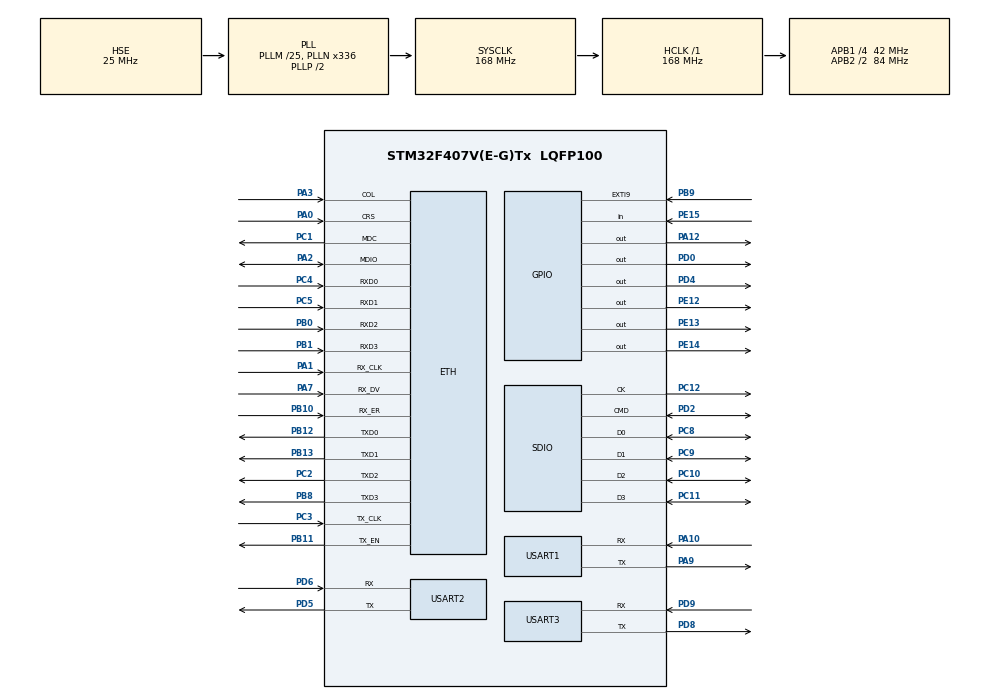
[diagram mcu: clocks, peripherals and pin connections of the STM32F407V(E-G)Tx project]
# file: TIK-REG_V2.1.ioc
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Dma.Request0=USART1_RX
Dma.Request1=USART1_TX
Dma.Request2=SDIO_RX
Dma.Request3=SDIO_TX
Dma.SDIO_RX.2.Direction=DMA_PERIPH_TO_MEMORY
Dma.SDIO_RX.2.FIFOMode=DMA_FIFOMODE_ENABLE
Dma.SDIO_RX.2.FIFOThreshold=DMA_FIFO_THRESHOLD_FULL
Dma.SDIO_RX.2.Instance=DMA2_Stream3
Dma.SDIO_RX.2.MemBurst=DMA_MBURST_INC4
Dma.SDIO_RX.2.MemDataAlignment=DMA_MDATAALIGN_WORD
Dma.SDIO_RX.2.MemInc=DMA_MINC_ENABLE
Dma.SDIO_RX.2.Mode=DMA_PFCTRL
Dma.SDIO_RX.2.PeriphBurst=DMA_PBURST_INC4
Dma.SDIO_RX.2.PeriphDataAlignment=DMA_PDATAALIGN_WORD
Dma.SDIO_RX.2.PeriphInc=DMA_PINC_DISABLE
Dma.SDIO_RX.2.Priority=DMA_PRIORITY_LOW
Dma.SDIO_TX.3.Direction=DMA_MEMORY_TO_PERIPH
Dma.SDIO_TX.3.FIFOMode=DMA_FIFOMODE_ENABLE
Dma.SDIO_TX.3.FIFOThreshold=DMA_FIFO_THRESHOLD_FULL
Dma.SDIO_TX.3.Instance=DMA2_Stream6
Dma.SDIO_TX.3.MemBurst=DMA_MBURST_INC4
Dma.SDIO_TX.3.MemDataAlignment=DMA_MDATAALIGN_WORD
Dma.SDIO_TX.3.MemInc=DMA_MINC_ENABLE
Dma.SDIO_TX.3.Mode=DMA_PFCTRL
Dma.SDIO_TX.3.PeriphBurst=DMA_PBURST_INC4
Dma.SDIO_TX.3.PeriphDataAlignment=DMA_PDATAALIGN_WORD
Dma.SDIO_TX.3.PeriphInc=DMA_PINC_DISABLE
Dma.SDIO_TX.3.Priority=DMA_PRIORITY_LOW
Dma.USART1_RX.0.Direction=DMA_PERIPH_TO_MEMORY
Dma.USART1_RX.0.FIFOMode=DMA_FIFOMODE_DISABLE
Dma.USART1_RX.0.Instance=DMA2_Stream2
Dma.USART1_RX.0.MemDataAlignment=DMA_MDATAALIGN_BYTE
Dma.USART1_RX.0.MemInc=DMA_MINC_ENABLE
Dma.USART1_RX.0.Mode=DMA_NORMAL
Dma.USART1_RX.0.PeriphDataAlignment=DMA_PDATAALIGN_BYTE
Dma.USART1_RX.0.PeriphInc=DMA_PINC_DISABLE
Dma.USART1_RX.0.Priority=DMA_PRIORITY_LOW
Dma.USART1_TX.1.Direction=DMA_MEMORY_TO_PERIPH
Dma.USART1_TX.1.FIFOMode=DMA_FIFOMODE_DISABLE
Dma.USART1_TX.1.Instance=DMA2_Stream7
Dma.USART1_TX.1.MemDataAlignment=DMA_MDATAALIGN_BYTE
Dma.USART1_TX.1.MemInc=DMA_MINC_ENABLE
Dma.USART1_TX.1.Mode=DMA_NORMAL
Dma.USART1_TX.1.PeriphDataAlignment=DMA_PDATAALIGN_BYTE
Dma.USART1_TX.1.PeriphInc=DMA_PINC_DISABLE
Dma.USART1_TX.1.Priority=DMA_PRIORITY_LOW
ETH.MediaInterface=ETH_MEDIA_INTERFACE_MII
ETH.RxMode=ETH_RXINTERRUPT_MODE
FATFS._MAX_SS=4096
FREERTOS.Tasks01=defaultTask,0,128,StartDefaultTask,Default,NULL,Dynamic,NULL,NULL
FREERTOS.configUSE_COUNTING_SEMAPHORES=1
Mcu.Family=STM32F4
Mcu.Name=STM32F407V(E-G)Tx
Mcu.Package=LQFP100
NVIC.DMA2_Stream2_IRQn=true\:5\:0\:false\:false\:true\:true\:false\:true
NVIC.DMA2_Stream3_IRQn=true\:5\:0\:false\:false\:true\:true\:false\:true
NVIC.DMA2_Stream6_IRQn=true\:5\:0\:false\:false\:true\:true\:false\:true
NVIC.DMA2_Stream7_IRQn=true\:5\:0\:false\:false\:true\:true\:false\:true
NVIC.ETH_IRQn=true\:5\:0\:false\:false\:true\:true\:false\:true
NVIC.EXTI9_5_IRQn=true\:5\:0\:false\:false\:true\:true\:false\:true
NVIC.PriorityGroup=NVIC_PRIORITYGROUP_4
NVIC.SDIO_IRQn=true\:5\:0\:false\:false\:true\:true\:true\:true
NVIC.TIM1_UP_TIM10_IRQn=true\:0\:0\:false\:false\:true\:false\:false\:true
NVIC.TIM6_DAC_IRQn=true\:5\:0\:false\:false\:true\:true\:false\:true
NVIC.TimeBase=TIM1_UP_TIM10_IRQn
NVIC.TimeBaseIP=TIM1
NVIC.USART1_IRQn=true\:5\:0\:false\:false\:true\:true\:false\:true
NVIC.USART2_IRQn=true\:5\:0\:false\:false\:true\:true\:false\:true
NVIC.USART3_IRQn=true\:5\:0\:false\:false\:true\:true\:false\:true
PA0-WKUP.Mode=MII
PA0-WKUP.Signal=ETH_CRS
PA1.Mode=MII
PA1.Signal=ETH_RX_CLK
PA10.Mode=Asynchronous
PA10.Signal=USART1_RX
PA12.Signal=GPIO_Output
PA13.Mode=JTAG_4_pins
PA13.Signal=SYS_JTMS-SWDIO
PA14.Mode=JTAG_4_pins
PA14.Signal=SYS_JTCK-SWCLK
PA15.Mode=JTAG_4_pins
PA15.Signal=SYS_JTDI
PA2.Mode=MII
PA2.Signal=ETH_MDIO
PA3.Mode=MII
PA3.Signal=ETH_COL
PA7.Mode=MII
PA7.Signal=ETH_RX_DV
PA9.Mode=Asynchronous
PA9.Signal=USART1_TX
PB0.Mode=MII
PB0.Signal=ETH_RXD2
PB1.Mode=MII
PB1.Signal=ETH_RXD3
PB10.Mode=Activate Rx Err signal
PB10.Signal=ETH_RX_ER
PB11.Mode=MII
PB11.Signal=ETH_TX_EN
PB12.Mode=MII
PB12.Signal=ETH_TXD0
PB13.Mode=MII
PB13.Signal=ETH_TXD1
PB3.Mode=JTAG_4_pins
PB3.Signal=SYS_JTDO-SWO
PB8.Mode=MII
PB8.Signal=ETH_TXD3
PB9.Signal=GPXTI9
PC1.Mode=MII
PC1.Signal=ETH_MDC
PC10.GPIO_PuPd=GPIO_PULLUP
PC10.Mode=SD_4_bits_Wide_bus
PC10.Signal=SDIO_D2
PC11.GPIO_PuPd=GPIO_PULLUP
PC11.Mode=SD_4_bits_Wide_bus
PC11.Signal=SDIO_D3
PC12.GPIO_PuPd=GPIO_NOPULL
PC12.Mode=SD_4_bits_Wide_bus
PC12.Signal=SDIO_CK
PC14-OSC32_IN.Mode=LSE-External-Oscillator
PC14-OSC32_IN.Signal=RCC_OSC32_IN
PC15-OSC32_OUT.Mode=LSE-External-Oscillator
PC15-OSC32_OUT.Signal=RCC_OSC32_OUT
PC2.Mode=MII
PC2.Signal=ETH_TXD2
PC3.Mode=MII
PC3.Signal=ETH_TX_CLK
PC4.Mode=MII
PC4.Signal=ETH_RXD0
PC5.Mode=MII
PC5.Signal=ETH_RXD1
PC8.GPIO_PuPd=GPIO_PULLUP
PC8.Mode=SD_4_bits_Wide_bus
PC8.Signal=SDIO_D0
PC9.GPIO_PuPd=GPIO_PULLUP
PC9.Mode=SD_4_bits_Wide_bus
PC9.Signal=SDIO_D1
PD0.Signal=GPIO_Output
PD2.GPIO_PuPd=GPIO_PULLUP
PD2.Mode=SD_4_bits_Wide_bus
PD2.Signal=SDIO_CMD
PD4.Signal=GPIO_Output
PD5.Mode=Asynchronous
PD5.Signal=USART2_TX
PD6.Mode=Asynchronous
PD6.Signal=USART2_RX
PD8.Mode=Asynchronous
PD8.Signal=USART3_TX
PD9.Mode=Asynchronous
PD9.Signal=USART3_RX
PE12.Signal=GPIO_Output
PE13.Signal=GPIO_Output
PE14.Signal=GPIO_Output
PE15.GPIO_PuPd=GPIO_PULLUP
PE15.Signal=GPIO_Input
PH0-OSC_IN.Mode=HSE-External-Oscillator
PH0-OSC_IN.Signal=RCC_OSC_IN
PH1-OSC_OUT.Mode=HSE-External-Oscillator
PH1-OSC_OUT.Signal=RCC_OSC_OUT
ProjectManager.HeapSize=0x200
ProjectManager.StackSize=0x400
ProjectManager.TargetToolchain=MDK-ARM V5
RCC.48MHZClocksFreq_Value=48000000
RCC.AHBFreq_Value=168000000
RCC.APB1CLKDivider=RCC_HCLK_DIV4
RCC.APB1Freq_Value=42000000
RCC.APB1TimFreq_Value=84000000
RCC.APB2CLKDivider=RCC_HCLK_DIV2
RCC.APB2Freq_Value=84000000
RCC.APB2TimFreq_Value=168000000
RCC.CortexFreq_Value=168000000
RCC.HCLKFreq_Value=168000000
RCC.HSE_VALUE=25000000
RCC.HSI_VALUE=16000000
RCC.PLLM=25
RCC.PLLN=336
RCC.PLLQ=7
RCC.PLLSourceVirtual=RCC_PLLSOURCE_HSE
RCC.RCC_RTC_Clock_Source=RCC_RTCCLKSOURCE_LSE
RCC.RCC_RTC_Clock_SourceVirtual=RCC_RTCCLKSOURCE_LSE
RCC.RCC_RTC_Clock_Source_FROM_HSE=RCC_RTCCLKSOURCE_HSE_DIV30
RCC.SYSCLKFreq_VALUE=168000000
RCC.SYSCLKSource=RCC_SYSCLKSOURCE_PLLCLK
RCC.VCOOutputFreq_Value=336000000
SDIO.ClockDiv=3
TIM6.Period=9
TIM6.Prescaler=839
TIM6.TIM_MasterOutputTrigger=TIM_TRGO_UPDATE
USART1.VirtualMode=VM_ASYNC
USART2.VirtualMode=VM_ASYNC
USART3.VirtualMode=VM_ASYNC
VP_FATFS_VS_SDIO.Mode=SDIO
VP_FREERTOS_VS_CMSIS_V1.Mode=CMSIS_V1
VP_SYS_VS_tim1.Mode=TIM1
VP_TIM6_VS_ClockSourceINT.Mode=Enable_Timer
board=BB2

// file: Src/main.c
/* USER CODE BEGIN Header */
/**
  ******************************************************************************
  * @file           : main.c
  * @brief          : Main program body
  ******************************************************************************
  * @attention
  *
  * <h2><center>&copy; Copyright (c) 2020 STMicroelectronics.
  * All rights reserved.</center></h2>
  *
  * This software component is licensed by ST under Ultimate Liberty license
  * SLA0044, the "License"; You may not use this file except in compliance with
  * the License. You may obtain a copy of the License at:
  *                             www.st.com/SLA0044
  *
  ******************************************************************************
  */
/* USER CODE END Header */

#include "main.h"
#include "cmsis_os.h"
#include "dma.h"
#include "eth.h"
#include "fatfs.h"
#include "sdio.h"
#include "tim.h"
#include "usart.h"
#include "gpio.h"

/* USER CODE BEGIN PV */
const uint8_t ucMACAddress[6] = { 0x03, 0x80, 0xE1, 0x00, 0x00, 0x00 };
const uint8_t ucIPAddress[ 4 ] = { 192, 168, 5, 241 };
const uint8_t ucNetMask[ 4 ] = { 255, 255, 255, 0 };
const uint8_t ucGatewayAddress[ 4 ] = { 192, 168, 5, 240 };
const uint8_t ucDNSServerAddress[ 4 ] = { 8, 8, 8, 8 };
/* USER CODE END PV */

void SystemClock_Config(void);
void MX_FREERTOS_Init(void);

int main(void)
{

  /* MCU Configuration--------------------------------------------------------*/

  /* Reset of all peripherals, Initializes the Flash interface and the Systick. */
  HAL_Init();

  /* Configure the system clock */
  SystemClock_Config();

  /* Initialize all configured peripherals */
  MX_GPIO_Init();
  MX_DMA_Init();
  MX_SDIO_SD_Init();
  MX_TIM6_Init();
  MX_USART2_UART_Init();
  MX_USART1_UART_Init();
  MX_USART3_UART_Init();
  //MX_ETH_Init();
  MX_FATFS_Init();
  /* USER CODE BEGIN 2 */
	xNetworkInterfaceInitialise();
	FreeRTOS_IPInit( ucIPAddress, ucNetMask, ucGatewayAddress, ucDNSServerAddress, ucMACAddress );
  /* USER CODE END 2 */

  /* Call init function for freertos objects (in freertos.c) */
  MX_FREERTOS_Init();
  /* Start scheduler */
  osKernelStart();

  /* We should never get here as control is now taken by the scheduler */
  /* Infinite loop */
  while (1)
  {

  }
}

void SystemClock_Config(void)
{
  RCC_OscInitTypeDef RCC_OscInitStruct = {0};
  RCC_ClkInitTypeDef RCC_ClkInitStruct = {0};

  /** Configure the main internal regulator output voltage
  */
  __HAL_RCC_PWR_CLK_ENABLE();
  __HAL_PWR_VOLTAGESCALING_CONFIG(PWR_REGULATOR_VOLTAGE_SCALE1);
  /** Initializes the CPU, AHB and APB busses clocks
  */
  RCC_OscInitStruct.OscillatorType = RCC_OSCILLATORTYPE_HSE;
  RCC_OscInitStruct.HSEState = RCC_HSE_ON;
  RCC_OscInitStruct.PLL.PLLState = RCC_PLL_ON;
  RCC_OscInitStruct.PLL.PLLSource = RCC_PLLSOURCE_HSE;
  RCC_OscInitStruct.PLL.PLLM = 25;
  RCC_OscInitStruct.PLL.PLLN = 336;
  RCC_OscInitStruct.PLL.PLLP = RCC_PLLP_DIV2;
  RCC_OscInitStruct.PLL.PLLQ = 7;
  if (HAL_RCC_OscConfig(&RCC_OscInitStruct) != HAL_OK)
  {
    Error_Handler();
  }
  /** Initializes the CPU, AHB and APB busses clocks
  */
  RCC_ClkInitStruct.ClockType = RCC_CLOCKTYPE_HCLK|RCC_CLOCKTYPE_SYSCLK
                              |RCC_CLOCKTYPE_PCLK1|RCC_CLOCKTYPE_PCLK2;
  RCC_ClkInitStruct.SYSCLKSource = RCC_SYSCLKSOURCE_PLLCLK;
  RCC_ClkInitStruct.AHBCLKDivider = RCC_SYSCLK_DIV1;
  RCC_ClkInitStruct.APB1CLKDivider = RCC_HCLK_DIV4;
  RCC_ClkInitStruct.APB2CLKDivider = RCC_HCLK_DIV2;

  if (HAL_RCC_ClockConfig(&RCC_ClkInitStruct, FLASH_LATENCY_5) != HAL_OK)
  {
    Error_Handler();
  }
}

 /**
  * @brief  Period elapsed callback in non blocking mode
  * @note   This function is called  when TIM1 interrupt took place, inside
  * HAL_TIM_IRQHandler(). It makes a direct call to HAL_IncTick() to increment
  * a global variable "uwTick" used as application time base.
  * @param  htim : TIM handle
  * @retval None
  */
void HAL_TIM_PeriodElapsedCallback(TIM_HandleTypeDef *htim)
{
  if (htim->Instance == TIM1) {
    HAL_IncTick();
  }
}

void Error_Handler(void)
{
}

/************************ (C) COPYRIGHT STMicroelectronics *****END OF FILE****/

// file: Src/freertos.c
/* USER CODE BEGIN Header */
/**
  ******************************************************************************
  * File Name          : freertos.c
  * Description        : Code for freertos applications
  ******************************************************************************
  * @attention
  *
  * <h2><center>&copy; Copyright (c) 2020 STMicroelectronics.
  * All rights reserved.</center></h2>
  *
  * This software component is licensed by ST under Ultimate Liberty license
  * SLA0044, the "License"; You may not use this file except in compliance with
  * the License. You may obtain a copy of the License at:
  *                             www.st.com/SLA0044
  *
  ******************************************************************************
  */
/* USER CODE END Header */

#include "FreeRTOS.h"
#include "task.h"
#include "main.h"
#include "cmsis_os.h"

/* USER CODE BEGIN Includes */
#include "fatfs.h"

/* FreeRTOS+UDP includes. */
#include "FreeRTOS_IP.h"
#include "FreeRTOS_Sockets.h"
#include "FreeRTOS_TCP_server.h"
/* USER CODE END Includes */

/* USER CODE BEGIN Variables */
	extern char SDPath[4];
	extern FATFS SDFatFS;
  FIL testFile;
  uint8_t testBuffer[16] = "SD write success";
  UINT testBytes;
  volatile FRESULT res;
/* USER CODE END Variables */
osThreadId defaultTaskHandle;

/* USER CODE BEGIN FunctionPrototypes */

/*
 * Uses FreeRTOS+TCP to listen for incoming echo connections, creating a task
 * to handle each connection.
 */
static void prvConnectionListeningTask( void *pvParameters );

/*
 * Created by the connection listening task to handle a single connection.
 */
static void prvServerConnectionInstance( void *pvParameters );

#define configECHO_SERVER_RX_WINDOW_SIZE	2
#define configECHO_SERVER_TX_WINDOW_SIZE	2
#define tcpechoPORT_NUMBER		80
#define tcpechoSHUTDOWN_DELAY	( pdMS_TO_TICKS( 5000 ) )

/* USER CODE END FunctionPrototypes */

void StartDefaultTask(void const * argument);

void MX_FREERTOS_Init(void); /* (MISRA C 2004 rule 8.1) */

/* GetIdleTaskMemory prototype (linked to static allocation support) */
void vApplicationGetIdleTaskMemory( StaticTask_t **ppxIdleTaskTCBBuffer, StackType_t **ppxIdleTaskStackBuffer, uint32_t *pulIdleTaskStackSize );

/* USER CODE BEGIN GET_IDLE_TASK_MEMORY */
static StaticTask_t xIdleTaskTCBBuffer;
static StackType_t xIdleStack[configMINIMAL_STACK_SIZE];

void vApplicationGetIdleTaskMemory( StaticTask_t **ppxIdleTaskTCBBuffer, StackType_t **ppxIdleTaskStackBuffer, uint32_t *pulIdleTaskStackSize )
{
  *ppxIdleTaskTCBBuffer = &xIdleTaskTCBBuffer;
  *ppxIdleTaskStackBuffer = &xIdleStack[0];
  *pulIdleTaskStackSize = configMINIMAL_STACK_SIZE;
  /* place for user code */
}
/* USER CODE END GET_IDLE_TASK_MEMORY */

void MX_FREERTOS_Init(void) {

  /* Create the thread(s) */
  /* definition and creation of defaultTask */
  osThreadDef(defaultTask, prvConnectionListeningTask, osPriorityNormal, 0, 256);
  defaultTaskHandle = osThreadCreate(osThread(defaultTask), NULL);

}

void StartDefaultTask(void const * argument)
{
  /* USER CODE BEGIN StartDefaultTask */

//	res = f_mount(&SDFatFS, SDPath, 1);
//	if( res == FR_OK)
//  {
//    uint8_t path[13] = "3file.txt";
//    path[12] = '\0';
//
//    res = f_open(&testFile, (char*)path, FA_WRITE | FA_CREATE_ALWAYS);
//
//    res = f_write(&testFile, testBuffer, 16, &testBytes);
//
//    res = f_close(&testFile);
//  }
#define configHTTP_ROOT "/websrc"
const TickType_t xInitialBlockTime = pdMS_TO_TICKS( 5000UL );
TCPServer_t *pxTCPServer = NULL;
static const struct xSERVER_CONFIG xServerConfiguration[] =
{
		/* Server type,		port number,	backlog, 	root dir. */
		{ eSERVER_HTTP, 	80, 			12, 		configHTTP_ROOT },
		/* Server type,		port number,	backlog, 	root dir. */
		{ eSERVER_FTP,  	21, 			12, 		"" }
};

pxTCPServer = FreeRTOS_CreateTCPServer( xServerConfiguration, sizeof( xServerConfiguration ) / sizeof( xServerConfiguration[ 0 ] ) );

FreeRTOS_TCPServerWork( pxTCPServer, xInitialBlockTime );

  /* Infinite loop */
  for(;;)
  {

		HAL_GPIO_TogglePin(GPIOE, GPIO_PIN_13);
    osDelay(300);
  }
  /* USER CODE END StartDefaultTask */
}

/* USER CODE BEGIN Application */

/* Stores the stack size passed into vStartSimpleTCPServerTasks() so it can be
reused when the server listening task creates tasks to handle connections. */
static uint16_t usUsedStackSize = 0;

static void prvConnectionListeningTask( void *pvParameters )
{
struct freertos_sockaddr xClient, xBindAddress;
Socket_t xListeningSocket, xConnectedSocket;
socklen_t xSize = sizeof( xClient );
static const TickType_t xReceiveTimeOut = portMAX_DELAY;
const BaseType_t xBacklog = 5;

BaseType_t xReturned;
TaskHandle_t xHandle = NULL;

#if( ipconfigUSE_TCP_WIN == 1 )
	WinProperties_t xWinProps;

	/* Fill in the buffer and window sizes that will be used by the socket. */
	xWinProps.lTxBufSize = ipconfigTCP_TX_BUFFER_LENGTH;
	xWinProps.lTxWinSize = configECHO_SERVER_TX_WINDOW_SIZE;
	xWinProps.lRxBufSize = ipconfigTCP_RX_BUFFER_LENGTH;
	xWinProps.lRxWinSize = configECHO_SERVER_RX_WINDOW_SIZE;

//	xWinProps.lTxBufSize = 24 * ipconfigTCP_MSS;
//	xWinProps.lTxWinSize = 8;
//	xWinProps.lRxBufSize = 24 * ipconfigTCP_MSS;
//	xWinProps.lRxWinSize = 8;

#endif /* ipconfigUSE_TCP_WIN */

	/* Just to prevent compiler warnings. */
	( void ) pvParameters;

	/* Attempt to open the socket. */
	xListeningSocket = FreeRTOS_socket( FREERTOS_AF_INET, FREERTOS_SOCK_STREAM, FREERTOS_IPPROTO_TCP );
	configASSERT( xListeningSocket != FREERTOS_INVALID_SOCKET );

	/* Set a time out so accept() will just wait for a connection. */
	FreeRTOS_setsockopt( xListeningSocket, 0, FREERTOS_SO_RCVTIMEO, &xReceiveTimeOut, sizeof( xReceiveTimeOut ) );

	/* Set the window and buffer sizes. */
	#if( ipconfigUSE_TCP_WIN == 1 )
	{
		FreeRTOS_setsockopt( xListeningSocket, 0, FREERTOS_SO_WIN_PROPERTIES, ( void * ) &xWinProps, sizeof( xWinProps ) );
	}
	#endif /* ipconfigUSE_TCP_WIN */

	/* Bind the socket to the port that the client task will send to, then
	listen for incoming connections. */
	xBindAddress.sin_port = tcpechoPORT_NUMBER;
	xBindAddress.sin_port = FreeRTOS_htons( xBindAddress.sin_port );
	FreeRTOS_bind( xListeningSocket, &xBindAddress, sizeof( xBindAddress ) );
	FreeRTOS_listen( xListeningSocket, xBacklog );

	for( ;; )
	{
		/* Wait for a client to connect. */
		xConnectedSocket = FreeRTOS_accept( xListeningSocket, &xClient, &xSize );
		configASSERT( xConnectedSocket != FREERTOS_INVALID_SOCKET );

		prvServerConnectionInstance(( void * ) xConnectedSocket);

//		/* Spawn a task to handle the connection. */
//		xReturned = xTaskCreate( prvServerConnectionInstance, "EchoServer", configMINIMAL_STACK_SIZE, ( void * ) xConnectedSocket, tskIDLE_PRIORITY + 1, &xHandle );
//
//		if( xReturned != pdPASS )
//    {
//			for(;;)
//			{
//					HAL_GPIO_TogglePin(GPIOE, GPIO_PIN_13);
//					osDelay(200);
//			}
//    }

	}
}

static void prvServerConnectionInstance( void *pvParameters )
{
int32_t lBytes, lSent, lTotalSent;
Socket_t xConnectedSocket;
static const TickType_t xReceiveTimeOut = pdMS_TO_TICKS( 5000 );
static const TickType_t xSendTimeOut = pdMS_TO_TICKS( 5000 );
TickType_t xTimeOnShutdown;
uint8_t *pucRxBuffer;

	xConnectedSocket = ( Socket_t ) pvParameters;

	/* Attempt to create the buffer used to receive the string to be echoed
	back.  This could be avoided using a zero copy interface that just returned
	the same buffer. */
	pucRxBuffer = ( uint8_t * ) pvPortMalloc( ipconfigTCP_MSS );

	if( pucRxBuffer != NULL )
	{
		FreeRTOS_setsockopt( xConnectedSocket, 0, FREERTOS_SO_RCVTIMEO, &xReceiveTimeOut, sizeof( xReceiveTimeOut ) );
		FreeRTOS_setsockopt( xConnectedSocket, 0, FREERTOS_SO_SNDTIMEO, &xSendTimeOut, sizeof( xReceiveTimeOut ) );

		for( ;; )
		{
			/* Zero out the receive array so there is NULL at the end of the string
			when it is printed out. */
			memset( pucRxBuffer, 0x00, ipconfigTCP_MSS );

			/* Receive data on the socket. */
			lBytes = FreeRTOS_recv( xConnectedSocket, pucRxBuffer, ipconfigTCP_MSS, 0 );

			/* If data was received, echo it back. */
			if( lBytes >= 0 )
			{
				lSent = 0;
				lTotalSent = 0;

				/* Call send() until all the data has been sent. */
				while( ( lSent >= 0 ) && ( lTotalSent < lBytes ) )
				{
					lSent = FreeRTOS_send( xConnectedSocket, pucRxBuffer, lBytes - lTotalSent, 0 );
					lTotalSent += lSent;
				}

				if( lSent < 0 )
				{
					/* Socket closed? */
					break;
				}
			}
			else
			{
				/* Socket closed? */
				break;
			}
		}
	}

	/* Initiate a shutdown in case it has not already been initiated. */
	FreeRTOS_shutdown( xConnectedSocket, FREERTOS_SHUT_RDWR );

	/* Wait for the shutdown to take effect, indicated by FreeRTOS_recv()
	returning an error. */
	xTimeOnShutdown = xTaskGetTickCount();
	do
	{
		if( FreeRTOS_recv( xConnectedSocket, pucRxBuffer, ipconfigTCP_MSS, 0 ) < 0 )
		{
			break;
		}
	} while( ( xTaskGetTickCount() - xTimeOnShutdown ) < tcpechoSHUTDOWN_DELAY );

	/* Finished with the socket, buffer, the task. */
	vPortFree( pucRxBuffer );
	FreeRTOS_closesocket( xConnectedSocket );

	//vTaskDelete( NULL );
}

/* USER CODE END Application */

/************************ (C) COPYRIGHT STMicroelectronics *****END OF FILE****/
